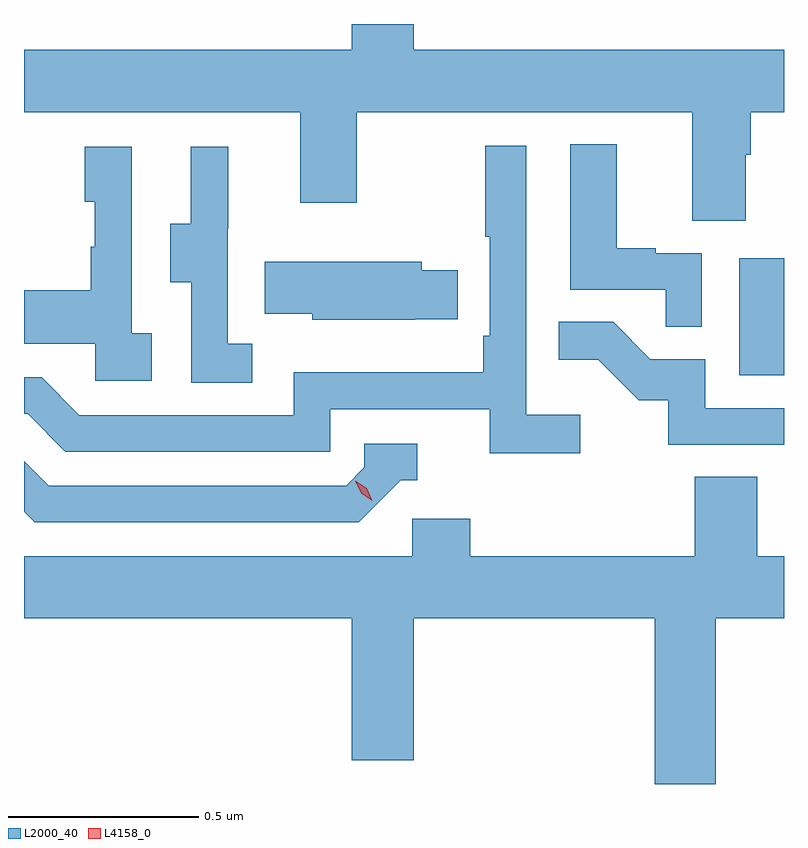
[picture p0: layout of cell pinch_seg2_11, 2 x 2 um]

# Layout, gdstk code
import gdstk
lib = gdstk.Library(unit=1e-6, precision=1e-09)
def R(c, l, rs):  # rectangles x0, y0, x1, y1
    for r in rs: c.add(gdstk.rectangle(r[:2], r[2:], *l))
def P(c, l, *ps):  # polygons
    for p in ps: c.add(gdstk.Polygon(p, *l))
L2000_40 = (2000, 40)
L4158_0 = (4158, 0)

pinch_seg2_11 = lib.new_cell('pinch_seg2_11')
R(pinch_seg2_11, L2000_40, [(1113.08,664.26,1113.198,664.567)])
P(pinch_seg2_11, L2000_40, [(1113.097,664.84),(1113.11,664.84),(1113.11,664.952),(1113.198,664.952),(1113.198,665.116),(1112.224,665.116),(1112.224,665.184),(1112.06,665.184),(1112.06,665.116),(1111.198,665.116),(1111.198,664.952),(1111.925,664.952),(1111.925,664.713),(1112.073,664.713),(1112.073,664.952),(1112.957,664.952),(1112.957,664.666),(1113.097,664.666)],
  [(1112.982,664.581),(1112.861,664.581),(1112.861,664.594),(1112.758,664.594),(1112.758,664.867),(1112.636,664.867),(1112.636,664.485),(1112.887,664.485),(1112.887,664.387),(1112.982,664.387)],
  [(1112.662,664.156),(1112.52,664.156),(1112.52,664.864),(1112.412,664.864),(1112.412,664.624),(1112.424,664.624),(1112.424,664.363),(1112.407,664.363),(1112.407,664.267),(1111.908,664.267),(1111.908,664.155),(1111.344,664.155),(1111.245,664.254),(1111.198,664.254),(1111.198,664.158),(1111.208,664.158),(1111.307,664.059),(1112.004,664.059),(1112.004,664.17),(1112.423,664.17),(1112.423,664.054),(1112.662,664.054)],
  [(1111.534,664.37),(1111.482,664.37),(1111.482,664.861),(1111.358,664.861),(1111.358,664.716),(1111.384,664.716),(1111.384,664.598),(1111.374,664.598),(1111.374,664.483),(1111.198,664.483),(1111.198,664.343),(1111.386,664.343),(1111.386,664.245),(1111.534,664.245)],
  [(1111.798,664.343),(1111.734,664.343),(1111.734,664.647),(1111.736,664.647),(1111.736,664.861),(1111.637,664.861),(1111.637,664.659),(1111.583,664.659),(1111.583,664.504),(1111.638,664.504),(1111.638,664.24),(1111.798,664.24)],
  [(1112.228,664.407),(1112.339,664.407),(1112.339,664.536),(1112.245,664.536),(1112.245,664.558),(1111.831,664.558),(1111.831,664.421),(1111.956,664.421),(1111.956,664.406),(1112.228,664.406)],
  [(1113.198,664.173),(1112.991,664.173),(1112.991,664.302),(1112.846,664.302),(1112.748,664.4),(1112.605,664.4),(1112.605,664.301),(1112.709,664.301),(1112.816,664.194),(1112.893,664.194),(1112.893,664.077),(1113.198,664.077)],
  [(1112.19,663.984),(1112.233,663.984),(1112.233,664.08),(1112.094,664.08),(1112.094,664.017),(1112.046,663.969),(1111.263,663.969),(1111.198,664.034),(1111.198,663.901),(1111.226,663.873),(1112.079,663.873)],
  [(1113.018,663.62),(1113.198,663.62),(1113.198,663.784),(1113.128,663.784),(1113.128,663.992),(1112.963,663.992),(1112.963,663.784),(1112.372,663.784),(1112.372,663.882),(1112.22,663.882),(1112.22,663.784),(1111.198,663.784),(1111.198,663.62),(1112.06,663.62),(1112.06,663.246),(1112.224,663.246),(1112.224,663.62),(1112.858,663.62),(1112.858,663.184),(1113.018,663.184)])
P(pinch_seg2_11, L4158_0, [(1112.115,663.93),(1112.085,663.949),(1112.07,663.982),(1112.07,663.982),(1112.07,663.982),(1112.1,663.962),(1112.115,663.93),(1112.115,663.93)])

lib.write_gds('pinch_seg2_11.gds')
